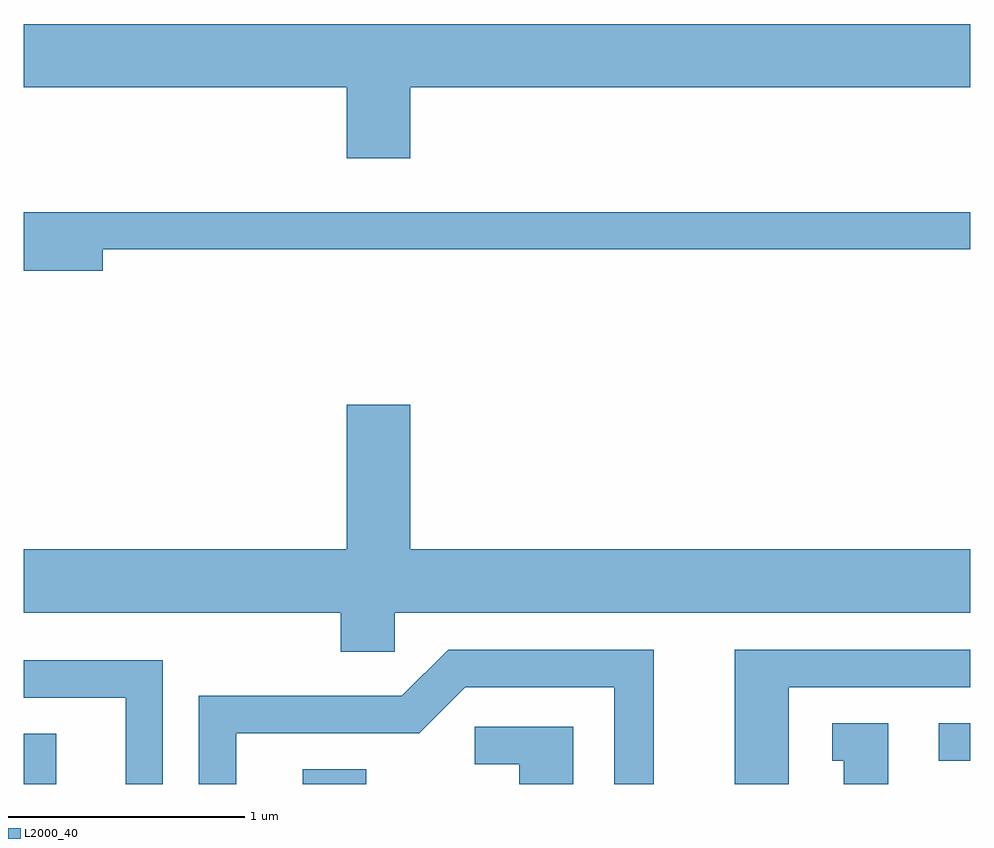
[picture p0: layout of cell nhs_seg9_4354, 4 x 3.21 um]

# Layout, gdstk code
import gdstk
lib = gdstk.Library(unit=1e-6, precision=1e-09)
def R(c, l, rs):  # rectangles x0, y0, x1, y1
    for r in rs: c.add(gdstk.rectangle(r[:2], r[2:], *l))
def P(c, l, *ps):  # polygons
    for p in ps: c.add(gdstk.Polygon(p, *l))
L2000_40 = (2000, 40)

nhs_seg9_4354 = lib.new_cell('nhs_seg9_4354')
R(nhs_seg9_4354, L2000_40, [(313.611,1984.432,313.749,1984.644), (314.791,1984.432,315.059,1984.494), (317.478,1984.531,317.611,1984.689)])
P(nhs_seg9_4354, L2000_40, [(315.244,1987.376),(317.611,1987.376),(317.611,1987.644),(313.611,1987.644),(313.611,1987.376),(314.976,1987.376),(314.976,1987.076),(315.244,1987.076)],
  [(313.944,1986.691),(317.611,1986.691),(317.611,1986.849),(313.611,1986.849),(313.611,1986.601),(313.944,1986.601)],
  [(315.179,1985.156),(317.611,1985.156),(317.611,1985.424),(315.244,1985.424),(315.244,1986.034),(314.976,1986.034),(314.976,1985.424),(313.611,1985.424),(313.611,1985.156),(314.951,1985.156),(314.951,1984.991),(315.179,1984.991)],
  [(314.509,1984.646),(315.282,1984.646),(315.477,1984.841),(316.106,1984.841),(316.106,1984.432),(316.274,1984.432),(316.274,1984.999),(315.404,1984.999),(315.209,1984.804),(314.351,1984.804),(314.351,1984.432),(314.509,1984.432)],
  [(316.844,1984.841),(317.611,1984.841),(317.611,1984.999),(316.616,1984.999),(316.616,1984.432),(316.844,1984.432)],
  [(314.199,1984.954),(313.611,1984.954),(313.611,1984.796),(314.041,1984.796),(314.041,1984.432),(314.199,1984.432)],
  [(317.264,1984.689),(317.028,1984.689),(317.028,1984.531),(317.076,1984.531),(317.076,1984.432),(317.264,1984.432)],
  [(315.934,1984.674),(315.518,1984.674),(315.518,1984.516),(315.706,1984.516),(315.706,1984.432),(315.934,1984.432)])

lib.write_gds('nhs_seg9_4354.gds')
